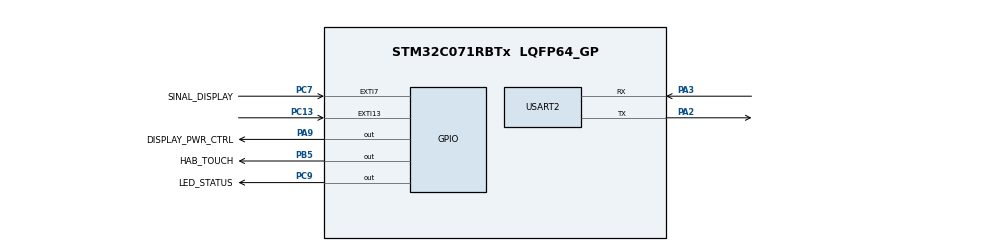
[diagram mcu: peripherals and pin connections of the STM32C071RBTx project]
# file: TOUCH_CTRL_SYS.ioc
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Mcu.Family=STM32C0
Mcu.Name=STM32C071RBTx
Mcu.Package=LQFP64_GP
NVIC.EXTI4_15_IRQn=true\:0\:0\:false\:false\:true\:true\:true\:true
NVIC.USART2_IRQn=true\:0\:0\:false\:false\:true\:true\:true\:true
PA13.Mode=Serial_Wire
PA13.Signal=DEBUG_SWDIO
PA14-BOOT0.Mode=Serial_Wire
PA14-BOOT0.Signal=DEBUG_SWCLK
PA2.Mode=Asynchronous
PA2.Signal=USART2_TX
PA3.Mode=Asynchronous
PA3.Signal=USART2_RX
PA9.GPIO_Label=DISPLAY_PWR_CTRL
PA9.Signal=GPIO_Output
PB5.GPIO_Label=HAB_TOUCH
PB5.Signal=GPIO_Output
PC13.GPIO_PuPd=GPIO_PULLDOWN
PC13.Signal=GPXTI13
PC14-OSCX_IN(PC14).Mode=LSE-External-Oscillator
PC14-OSCX_IN(PC14).Signal=RCC_OSCX_IN
PC15-OSCX_OUT(PC15).Mode=LSE-External-Oscillator
PC15-OSCX_OUT(PC15).Signal=RCC_OSCX_OUT
PC7.GPIO_Label=SINAL_DISPLAY
PC7.GPIO_PuPd=GPIO_PULLDOWN
PC7.Signal=GPXTI7
PC9.GPIO_Label=LED_STATUS
PC9.Signal=GPIO_Output
ProjectManager.HeapSize=0x200
ProjectManager.StackSize=0x400
ProjectManager.TargetToolchain=MDK-ARM V5.39
RCC.ADCFreq_Value=48000000
RCC.AHBFreq_Value=48000000
RCC.CortexFreq_Value=48000000
RCC.EXTERNAL_CLOCK_VALUE=12288000
RCC.HCLKFreq_Value=48000000
RCC.HSE_VALUE=8000000
RCC.HSI48_VALUE=48000000
RCC.HSI_VALUE=48000000
RCC.RTCClockSelection=RCC_RTCCLKSOURCE_LSE
RCC.SYSCLKFreq_VALUE=48000000
RCC.SYSCLKSource=RCC_SYSCLKSOURCE_HSIUSB48
USART2.VirtualMode-Asynchronous=VM_ASYNC
VP_RTC_VS_RTC_Activate.Mode=RTC_Enabled
VP_RTC_VS_RTC_Calendar.Mode=RTC_Calendar
board=NUCLEO-C071RB

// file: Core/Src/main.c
/* USER CODE BEGIN Header */
/**
  ******************************************************************************
  * @file           : main.c
  * @brief          : Main program body
  ******************************************************************************
  * @attention
  *
  * Copyright (c) 2025 STMicroelectronics.
  * All rights reserved.
  *
  * This software is licensed under terms that can be found in the LICENSE file
  * in the root directory of this software component.
  * If no LICENSE file comes with this software, it is provided AS-IS.
  *
  ******************************************************************************
  */
/* USER CODE END Header */
#include "main.h"
#include "rtc.h"
#include "usart.h"
#include "gpio.h"
#include <stdio.h>
#include <string.h>

/* USER CODE BEGIN PTD */
typedef enum {
  STATE_ACTIVE,
  STATE_STOPPED
} SystemState_t;
/* USER CODE END PTD */

/* USER CODE BEGIN PV */
volatile uint8_t g_wake_up_request = 0;
volatile uint8_t g_go_to_sleep_request = 0;

SystemState_t current_state = STATE_ACTIVE;

// Buffer para o CLI
uint8_t cli_buffer[10];
uint8_t cli_idx = 0;
uint8_t g_uart_rx_char;

//RTC
RTC_TimeTypeDef sTime = {0};
RTC_DateTypeDef sDate = {0};
/* USER CODE END PV */

#define PUTCHAR_PROTOTYPE int fputc(int ch, FILE *f)

PUTCHAR_PROTOTYPE
{
  HAL_UART_Transmit(&huart2, (uint8_t *)&ch, 1, HAL_MAX_DELAY);
  return ch;
}

void process_cli(void) {
  if (__HAL_UART_GET_FLAG(&huart2, UART_FLAG_RXNE) == SET) {
    HAL_UART_Receive(&huart2, &cli_buffer[cli_idx], 1, 1);
    if (cli_buffer[cli_idx] == '\r' || cli_buffer[cli_idx] == '\n') {
      cli_buffer[cli_idx] = '\0'; // Termina a string
      if (strcmp((char*)cli_buffer, "OFF") == 0) {
        printf("Comando 'OFF' recebido. Entrando em modo Stop...\r\n");
        g_go_to_sleep_request = 1;
      }
      cli_idx = 0; // Reseta o buffer
    } else {
      if (cli_idx < sizeof(cli_buffer) - 1) {
        cli_idx++;
      }
    }
  }
}

void SystemClock_Config(void);

int main(void)
{

  /* MCU Configuration--------------------------------------------------------*/

  /* Reset of all peripherals, Initializes the Flash interface and the Systick. */
  HAL_Init();

  /* Configure the system clock */
  SystemClock_Config();

  /* Initialize all configured peripherals */
  MX_GPIO_Init();
  MX_USART2_UART_Init();
  MX_RTC_Init();
  /* USER CODE BEGIN 2 */

	RTC_TimeTypeDef sTime_set = {0};
  RTC_DateTypeDef sDate_set = {0};

  sTime_set.Hours = 10;
  sTime_set.Minutes = 30;
  sTime_set.Seconds = 00;
  HAL_RTC_SetTime(&hrtc, &sTime_set, RTC_FORMAT_BIN);

  sDate_set.WeekDay = RTC_WEEKDAY_TUESDAY;
  sDate_set.Month = RTC_MONTH_MAY;
  sDate_set.Date = 21;
  sDate_set.Year = 25; // O ano é 2025
  HAL_RTC_SetDate(&hrtc, &sDate_set, RTC_FORMAT_BIN);

  printf("Sistema iniciado. Display LIGADO.\r\n");
  printf("RTC configurado para 10:30:00 - 19/09/25\r\n\n");
	HAL_UART_Receive_IT(&huart2, &g_uart_rx_char, 1);
  /* USER CODE END 2 */

  /* Infinite loop */
  while (1)
  {
		if (current_state == STATE_ACTIVE) {
      // --- MODO ATIVO ---
      HAL_GPIO_TogglePin(LED_STATUS_GPIO_Port, LED_STATUS_Pin);

      // A cada 5 segundos, imprime a hora atual
      HAL_RTC_GetTime(&hrtc, &sTime, RTC_FORMAT_BIN);
      HAL_RTC_GetDate(&hrtc, &sDate, RTC_FORMAT_BIN); // É importante ler a data também para limpar as flags
      printf("MODO ATIVO - Hora: %02d:%02d:%02d\r\n", sTime.Hours, sTime.Minutes, sTime.Seconds);

      HAL_Delay(5050); // Alterado para 5 segundos (ao invés de 500ms)

      // (A checagem do g_go_to_sleep_request pela interrupção da UART/Botão continua funcionando)
      if (g_go_to_sleep_request) {
        g_go_to_sleep_request = 0;
        current_state = STATE_STOPPED;
      }

    } else if (current_state == STATE_STOPPED) {
      // --- SEQUÊNCIA PARA ENTRAR EM MODO STOP ---
      printf("Entrando em modo Stop. Toque na tela para acordar.\r\n\n");

      HAL_Delay(100);

      HAL_GPIO_WritePin(LED_STATUS_GPIO_Port, LED_STATUS_Pin, GPIO_PIN_SET); // Desliga LED
      HAL_GPIO_WritePin(DISPLAY_PWR_CTRL_GPIO_Port, DISPLAY_PWR_CTRL_Pin, GPIO_PIN_RESET); // Desliga Display
      HAL_GPIO_WritePin(HAB_TOUCH_GPIO_Port, HAB_TOUCH_Pin, GPIO_PIN_RESET); // Liga detecção de toque

      __HAL_PWR_CLEAR_FLAG(PWR_FLAG_WUF1);
      g_wake_up_request = 0;

      // ********** ENTRANDO EM MODO STOP **********
      HAL_PWR_EnterSTOPMode(PWR_MAINREGULATOR_ON, PWR_STOPENTRY_WFI);
      // *******************************************

      // --- PONTO DE RETORNO APÓS ACORDAR ---

      SystemClock_Config();

      // Re-inicializa a UART (necessário após reconfigurar o clock pós-Stop)
      MX_USART2_UART_Init();

      // --- SEQUÊNCIA AO ACORDAR ---
      HAL_GPIO_WritePin(HAB_TOUCH_GPIO_Port, HAB_TOUCH_Pin, GPIO_PIN_SET);
      HAL_GPIO_WritePin(DISPLAY_PWR_CTRL_GPIO_Port, DISPLAY_PWR_CTRL_Pin, GPIO_PIN_SET);

      printf("\r\n>>> SISTEMA ACORDOU DO MODO STOP! <<<\r\n");

      // **** VALIDAÇÃO DO RTC ****
      HAL_RTC_GetTime(&hrtc, &sTime, RTC_FORMAT_BIN);
      HAL_RTC_GetDate(&hrtc, &sDate, RTC_FORMAT_BIN);
      printf(">>> HORA ATUAL (RTC): %02d:%02d:%02d <<<\r\n\n", sTime.Hours, sTime.Minutes, sTime.Seconds);
      // **************************

      // Re-arma a interrupção da UART
      HAL_UART_Receive_IT(&huart2, &g_uart_rx_char, 1);

      // Muda para o estado ativo
      current_state = STATE_ACTIVE;
    }
  }
}

void HAL_UART_RxCpltCallback(UART_HandleTypeDef *huart)
{
  if (huart->Instance == USART2)
  {
    // Verifica se o caractere é um fim de linha (Enter)
    if (g_uart_rx_char == '\r' || g_uart_rx_char == '\n')
    {
      if (cli_idx > 0) // Só processa se tivermos recebido algo
      {
        cli_buffer[cli_idx] = '\0'; // Finaliza a string

        // Converte para maiúsculas (para aceitar 'off', 'OFF', 'Off', etc.)
        for (int i = 0; cli_buffer[i] != '\0'; i++) {
          if (cli_buffer[i] >= 'a' && cli_buffer[i] <= 'z') {
            cli_buffer[i] = cli_buffer[i] - 32;
          }
        }

        // Compara o comando
        if (strcmp((char*)cli_buffer, "OFF") == 0)
        {
          if (current_state == STATE_ACTIVE) {
             g_go_to_sleep_request = 1;
          }
        }
      }
      cli_idx = 0; // Reseta o índice do buffer
    }
    else
    {
      if (cli_idx < sizeof(cli_buffer) - 1)
      {
        cli_buffer[cli_idx++] = g_uart_rx_char;
      }
    }

    HAL_UART_Receive_IT(&huart2, &g_uart_rx_char, 1);
  }
}

void HAL_GPIO_EXTI_Callback(uint16_t GPIO_Pin) {
  if (GPIO_Pin == GPIO_PIN_13) {
    if (current_state == STATE_ACTIVE) {
      g_go_to_sleep_request = 1;
    }
  }
  else if (GPIO_Pin == GPIO_PIN_7) {
    g_wake_up_request = 1;
  }
}

void SystemClock_Config(void)
{
  RCC_OscInitTypeDef RCC_OscInitStruct = {0};
  RCC_ClkInitTypeDef RCC_ClkInitStruct = {0};

  __HAL_FLASH_SET_LATENCY(FLASH_LATENCY_1);

  /** Configure LSE Drive Capability
  */
  __HAL_RCC_LSEDRIVE_CONFIG(RCC_LSEDRIVE_LOW);

  /** Initializes the RCC Oscillators according to the specified parameters
  * in the RCC_OscInitTypeDef structure.
  */
  RCC_OscInitStruct.OscillatorType = RCC_OSCILLATORTYPE_LSE|RCC_OSCILLATORTYPE_HSI48;
  RCC_OscInitStruct.LSEState = RCC_LSE_ON;
  RCC_OscInitStruct.HSI48State = RCC_HSI48_ON;

  if (HAL_RCC_OscConfig(&RCC_OscInitStruct) != HAL_OK)
  {
    Error_Handler();
  }

  /** Initializes the CPU, AHB and APB buses clocks
  */
  RCC_ClkInitStruct.ClockType = RCC_CLOCKTYPE_HCLK|RCC_CLOCKTYPE_SYSCLK
                              |RCC_CLOCKTYPE_PCLK1;
  RCC_ClkInitStruct.SYSCLKSource = RCC_SYSCLKSOURCE_HSIUSB48;
  RCC_ClkInitStruct.SYSCLKDivider = RCC_SYSCLK_DIV1;
  RCC_ClkInitStruct.AHBCLKDivider = RCC_HCLK_DIV1;
  RCC_ClkInitStruct.APB1CLKDivider = RCC_APB1_DIV1;

  if (HAL_RCC_ClockConfig(&RCC_ClkInitStruct, FLASH_LATENCY_1) != HAL_OK)
  {
    Error_Handler();
  }
}

void Error_Handler(void)
{
  __disable_irq();
  while (1)
  {
  }
}
